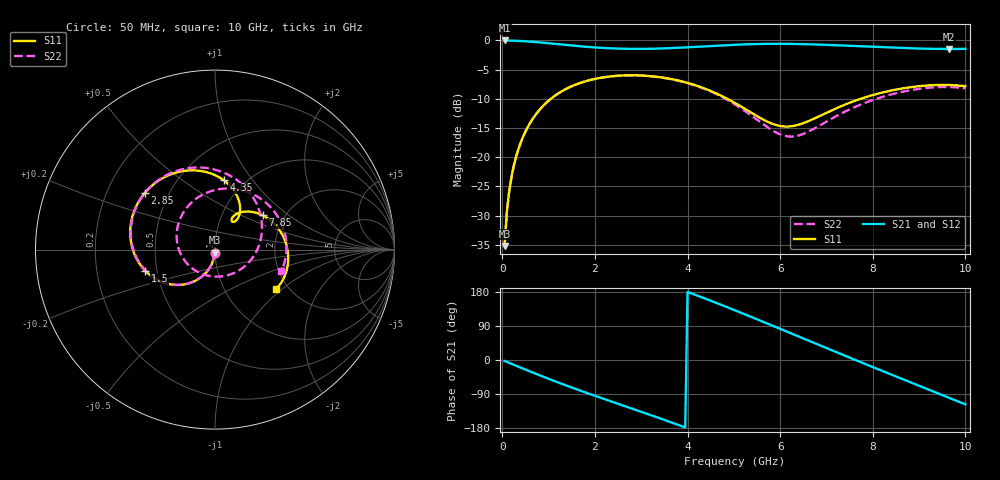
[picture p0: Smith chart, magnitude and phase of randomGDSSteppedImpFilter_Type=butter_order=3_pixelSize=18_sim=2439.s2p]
! freq	dB(S11)	phase(S11)	dB(S12)	phase(S12)
!  dB(S21)	phase(S21)	dB(S22)	phase(S22)
!S-par simulation data
#  GHz  S  DB  R 50
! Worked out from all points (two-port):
!   200 points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, 50 MHz to 10 GHz, reference 50 ohm
!   highest |S21| = 0.00 dB at 50 MHz (marker M1); lowest = -1.5 dB at 9.65 GHz (marker M2)
!   |S21| within 3 dB of the highest: start of sweep to end of sweep
!   lowest |S11| = -35.2 dB at 50 MHz (marker M3), VSWR 1.04, Z = 49.9 - j1.73 ohm
!   |S11| at or under -10 dB: start of sweep to 1.048 GHz; 4.858 GHz to 7.737 GHz (2.879 GHz wide, 45.7 % of centre)
!   |S22| runs from -35.2 to -6.0 dB; largest |S21 - S12| = 0
!   S11 on the Smith chart (normalised r, x): 50 MHz: 1.00, -0.03; 1.5 GHz: 0.43, -0.12; 2.85 GHz: 0.37, +0.31; 4.35 GHz: 0.80, +0.73; 7.85 GHz: 1.55, +0.66; 10 GHz: 1.74, -0.91
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0.05  -35.23 -92.9  -0.00 -2.6  -0.00 -2.6  -35.25 -92.8
0.1  -29.27 -95.6  -0.01 -5.2  -0.01 -5.2  -29.27 -95.6
0.2  -23.33 -100.7  -0.04 -10.3  -0.04 -10.3  -23.33 -100.7
0.45  -16.48 -113.2  -0.13 -22.9  -0.13 -22.9  -16.49 -113.4
1  -10.32 -140.0  -0.48 -49.7  -0.48 -49.7  -10.32 -140.4
1.5  -7.84 -162.9  -0.87 -72.7  -0.87 -72.7  -7.84 -163.7
1.75  -7.11 -173.8  -1.05 -83.7  -1.05 -83.7  -7.11 -174.8
2.3  -6.20 163.2  -1.34 -107.2  -1.34 -107.2  -6.20 161.2
2.85  -5.97 141.0  -1.45 -130.3  -1.45 -130.3  -5.98 137.3
3.4  -6.30 119.2  -1.39 -153.8  -1.39 -153.8  -6.31 112.5
3.9  -7.06 99.7  -1.22 -175.8  -1.22 -175.8  -7.09 88.3
4.35  -8.18 83.0  -1.02 163.5  -1.02 163.5  -8.25 64.5
5.05  -10.84 61.3  -0.73 129.9  -0.73 129.9  -11.08 20.9
5.5  -12.96 54.2  -0.62 107.5  -0.62 107.5  -13.58 -15.1
5.9  -14.46 55.3  -0.58 87.2  -0.58 87.2  -15.72 -56.5
6.7  -13.52 61.2  -0.68 46.5  -0.68 46.5  -15.26 -151.9
7.3  -11.32 51.3  -0.85 16.2  -0.85 16.2  -12.60 155.1
7.85  -9.71 35.8  -1.04 -11.2  -1.04 -11.2  -10.64 116.0
8.35  -8.66 19.9  -1.21 -36.0  -1.21 -36.0  -9.35 83.7
9  -7.84 -1.4  -1.39 -67.8  -1.39 -67.8  -8.29 43.7
9.65  -7.63 -22.0  -1.47 -99.7  -1.47 -99.7  -7.98 4.0
10  -7.84 -32.4  -1.45 -117.2  -1.45 -117.2  -8.21 -18.2
